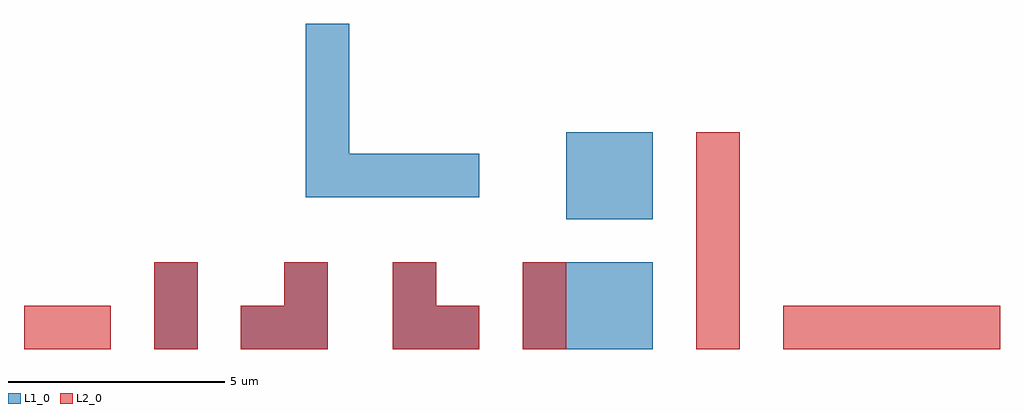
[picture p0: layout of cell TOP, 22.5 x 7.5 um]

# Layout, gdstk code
from math import pi, radians
import gdstk
lib = gdstk.Library(unit=1e-6, precision=1e-09)
def R(c, l, rs):  # rectangles x0, y0, x1, y1
    for r in rs: c.add(gdstk.rectangle(r[:2], r[2:], *l))
L1_0 = (1, 0)
L2_0 = (2, 0)

part = lib.new_cell('PART')
R(part, L1_0, [(0,0,1,2)])
R(part, L2_0, [(0,0,1,2)])

child = lib.new_cell('CHILD')
child.add(gdstk.Reference(part, (0,0)))
child.add(gdstk.Reference(part, (3,0)))
child.add(gdstk.Reference(part, (2,0), rotation=pi/2))

top = lib.new_cell('TOP')
R(top, L1_0, [(4,0,6,2), (4,3,6,5), (-2,3.5,-1,7.5), (-2,3.5,2,4.5)])
R(top, L2_0, [(-8.5,0,-6.5,1), (7,0,8,5), (9,0,14,1)])
top.add(gdstk.Reference(child, (0,0)))
top.add(gdstk.Reference(child, (-1.5,0), rotation=pi, x_reflection=True))

lib.write_gds('TOP.gds')
